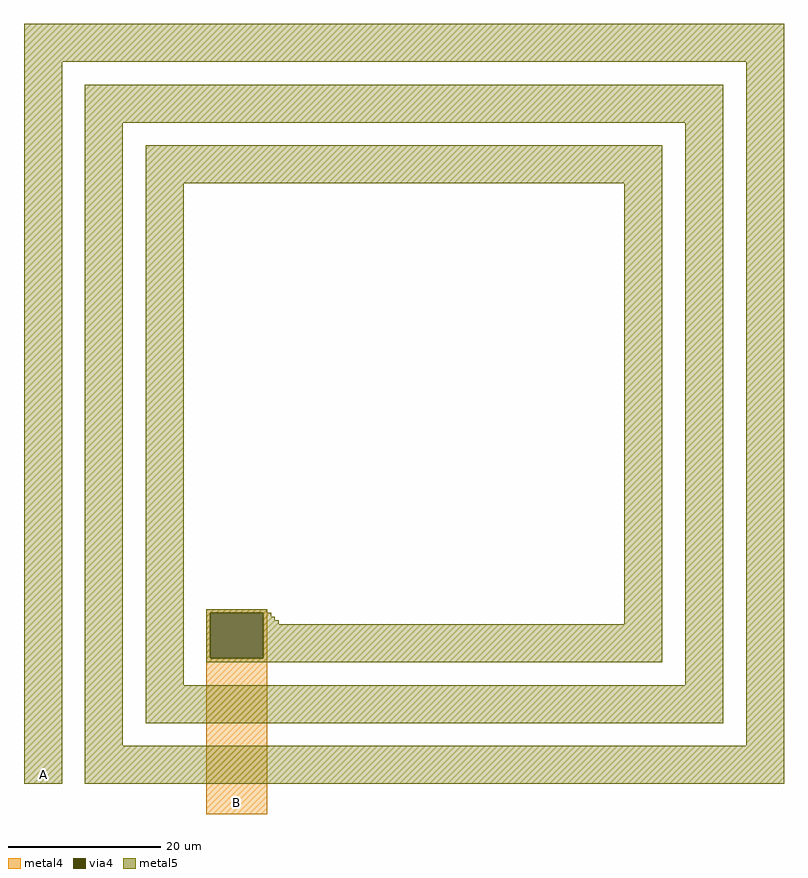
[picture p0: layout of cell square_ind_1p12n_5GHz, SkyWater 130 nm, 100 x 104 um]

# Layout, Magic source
magic
tech sky130B
<< metal4 >>
rect 2400 2250 3200 2300
rect 2400 1650 2450 2250
rect 3150 1650 3200 2250
rect 2400 -400 3200 1650
<< via4 >>
rect 2450 1650 3150 2250
<< metal5 >>
rect 0 9500 10000 10000
rect 0 0 500 9500
rect 800 8700 9200 9200
rect 800 500 1300 8700
rect 1600 7900 8400 8400
rect 1600 1300 2100 7900
rect 2400 2250 3200 2300
rect 2400 1650 2450 2250
rect 3150 2200 3250 2250
rect 3150 2150 3300 2200
rect 3150 2100 3350 2150
rect 7900 2100 8400 7900
rect 3150 1650 8400 2100
rect 2400 1600 8400 1650
rect 8700 1300 9200 8700
rect 1600 800 9200 1300
rect 9500 500 10000 9500
rect 800 0 10000 500
<< labels >>
rlabel metal4 2400 -400 3200 -100 1 B
rlabel metal5 0 0 500 250 1 A
<< end >>
